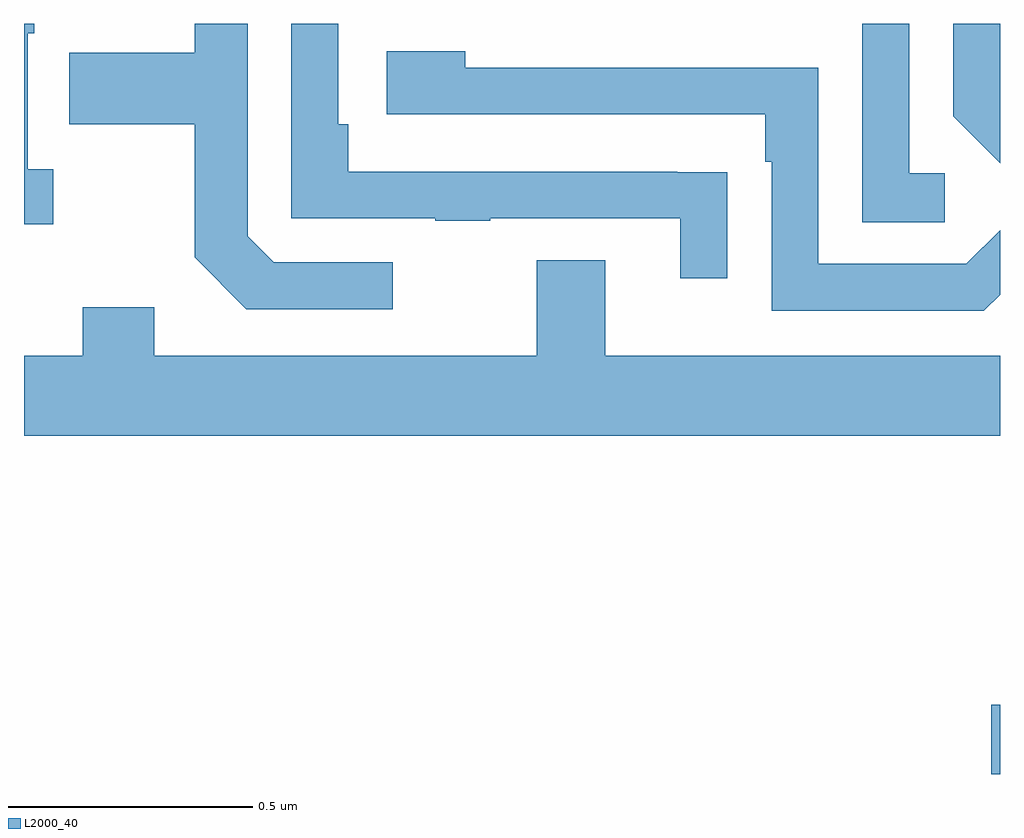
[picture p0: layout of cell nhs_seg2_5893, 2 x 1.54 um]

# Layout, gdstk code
import gdstk
lib = gdstk.Library(unit=1e-6, precision=1e-09)
def R(c, l, rs):  # rectangles x0, y0, x1, y1
    for r in rs: c.add(gdstk.rectangle(r[:2], r[2:], *l))
def P(c, l, *ps):  # polygons
    for p in ps: c.add(gdstk.Polygon(p, *l))
L2000_40 = (2000, 40)

nhs_seg2_5893 = lib.new_cell('nhs_seg2_5893')
R(nhs_seg2_5893, L2000_40, [(185.982,660.262,186,660.404)])
P(nhs_seg2_5893, L2000_40, [(184.756,661.311),(184.512,661.311),(184.458,661.365),(184.458,661.8),(184.35,661.8),(184.35,661.741),(184.093,661.741),(184.093,661.594),(184.35,661.594),(184.35,661.321),(184.455,661.215),(184.756,661.215)],
  [(184.06,661.502),(184.008,661.502),(184.008,661.781),(184.021,661.781),(184.021,661.8),(184,661.8),(184,661.389),(184.06,661.389)],
  [(185.887,661.494),(185.814,661.494),(185.814,661.8),(185.718,661.8),(185.718,661.393),(185.887,661.393)],
  [(185.441,661.496),(185.339,661.496),(185.339,661.497),(184.664,661.497),(184.664,661.594),(184.644,661.594),(184.644,661.8),(184.548,661.8),(184.548,661.401),(184.843,661.401),(184.843,661.396),(184.955,661.396),(184.955,661.401),(185.345,661.401),(185.345,661.278),(185.441,661.278)],
  [(186,661.8),(185.904,661.8),(185.904,661.61),(186,661.514)],
  [(186,661.245),(186,661.377),(185.931,661.308),(185.628,661.308),(185.628,661.71),(184.904,661.71),(184.904,661.744),(184.743,661.744),(184.743,661.614),(185.519,661.614),(185.519,661.517),(185.532,661.517),(185.532,661.212),(185.967,661.212)],
  [(186,661.12),(185.191,661.12),(185.191,661.315),(185.051,661.315),(185.051,661.12),(184.267,661.12),(184.267,661.219),(184.12,661.219),(184.12,661.12),(184,661.12),(184,660.956),(186,660.956)])

lib.write_gds('nhs_seg2_5893.gds')
